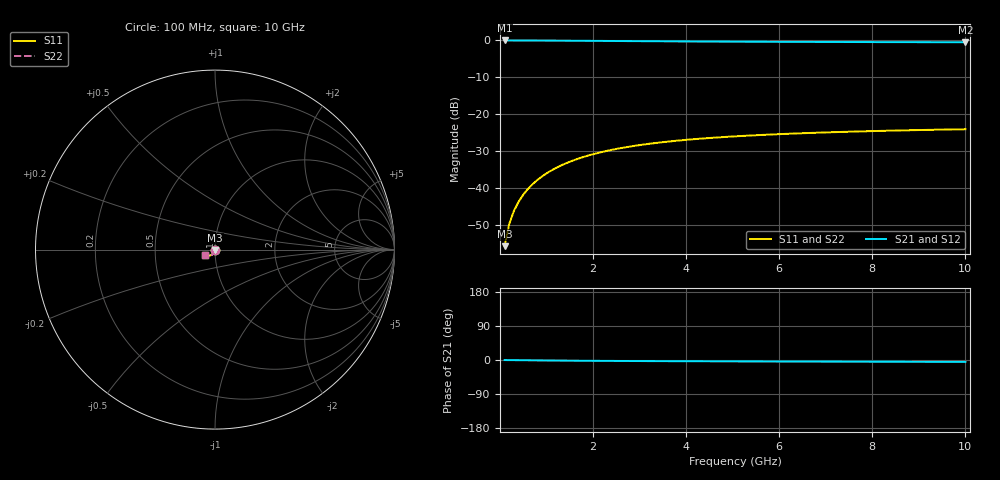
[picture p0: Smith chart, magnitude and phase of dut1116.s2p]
! Touchstone file exported from HFSS 2024.1.0
!  File:  C:/UserFiles/LocalFiles/RDL_TSV_Batchsim/temp_TSV1_1116_1780068611.aedt
!  Generated:  11:35:09 PM May 29, 2026
!  Design:  TSV1
!  Project:  temp_TSV1_1116_1780068611
!  Setup:  Setup1
!  Solution:  Sweep
! Variables:
!  dtsv = 13.26um
!  hbump = 3um
!  htsv = 75.15um
!  lrdl = 252.1521522um
!  p = 40
!  p1 = 41.76um
!  t = 500um
!  trdl = 3um
!  wrdl = 24.89489489um
# GHz S MA R 50.000000
! Terminal data exported
! Port[1] = TSV22_T1
! Port[2] = TSV22_T2
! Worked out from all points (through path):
!   100 points, 100 MHz to 10 GHz, reference 50 ohm
!   highest |S21| = 0.00 dB at 100 MHz (marker M1); lowest = -0.5 dB at 10 GHz (marker M2)
!   lowest |S11| = -55.9 dB at 100 MHz (marker M3), VSWR 1.00, Z = 50 - j0.161 ohm
!   |S11| at or under -10 dB: start of sweep to end of sweep
!   |S22| runs from -55.9 to -24.1 dB; largest |S21 - S12| = 3.4e-15
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0.1  0.001611 -88.3  0.9999 -0.1  0.9999 -0.1  0.001611 -88.3
! Gamma 0 0 0 0
! Port Impedance 50 0 50 0
0.2  0.003239 -91.4  0.9997 -0.3  0.9997 -0.3  0.003239 -91.4
0.3  0.004855 -93.4  0.9995 -0.4  0.9995 -0.4  0.004855 -93.4
0.4  0.006459 -95.1  0.9992 -0.5  0.9992 -0.5  0.006459 -95.1
0.5  0.008048 -96.7  0.9989 -0.6  0.9989 -0.6  0.008048 -96.7
0.6  0.009619 -98.2  0.9984 -0.8  0.9984 -0.8  0.009619 -98.2
0.7  0.01117 -99.7  0.9979 -0.9  0.9979 -0.9  0.01117 -99.7
0.8  0.0127 -101.1  0.9973 -1.0  0.9973 -1.0  0.0127 -101.1
0.9  0.0142 -102.5  0.9967 -1.1  0.9967 -1.1  0.0142 -102.5
1.1  0.01711 -105.3  0.9952 -1.3  0.9952 -1.3  0.01711 -105.3
1.4  0.02124 -109.2  0.9928 -1.6  0.9928 -1.6  0.02124 -109.2
1.6  0.02382 -111.6  0.991 -1.8  0.991 -1.8  0.02382 -111.6
1.8  0.02625 -113.9  0.9892 -2.0  0.9892 -2.0  0.02625 -113.9
2.1  0.02963 -117.2  0.9863 -2.2  0.9863 -2.2  0.02963 -117.2
2.5  0.03365 -121.2  0.9826 -2.5  0.9826 -2.5  0.03365 -121.2
2.9  0.03716 -124.7  0.979 -2.7  0.979 -2.7  0.03716 -124.7
3.4  0.04093 -128.6  0.9747 -3.0  0.9747 -3.0  0.04093 -128.6
4.2  0.04583 -133.7  0.9687 -3.3  0.9687 -3.3  0.04583 -133.7
5.1  0.0501 -138.3  0.963 -3.6  0.963 -3.6  0.0501 -138.3
6.7  0.0556 -144.3  0.9552 -4.1  0.9552 -4.1  0.0556 -144.3
8.4  0.05963 -148.9  0.9494 -4.6  0.9494 -4.6  0.05963 -148.9
10  0.06237 -152.2  0.9453 -5.0  0.9453 -5.0  0.06237 -152.2
